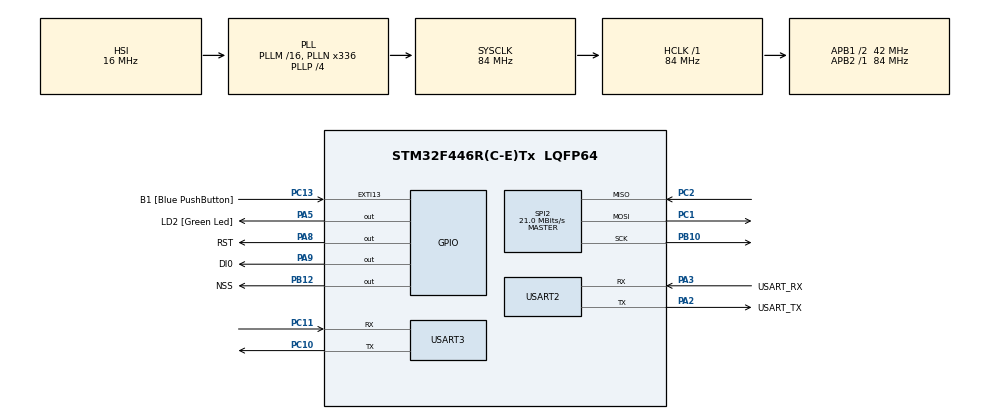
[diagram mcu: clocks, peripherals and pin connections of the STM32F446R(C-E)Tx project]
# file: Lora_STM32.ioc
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Mcu.Family=STM32F4
Mcu.Name=STM32F446R(C-E)Tx
Mcu.Package=LQFP64
NVIC.PriorityGroup=NVIC_PRIORITYGROUP_0
PA13.GPIO_Label=TMS
PA13.Mode=Serial_Wire
PA13.Signal=SYS_JTMS-SWDIO
PA14.GPIO_Label=TCK
PA14.Mode=Serial_Wire
PA14.Signal=SYS_JTCK-SWCLK
PA2.GPIO_Label=USART_TX
PA2.Mode=Asynchronous
PA2.Signal=USART2_TX
PA3.GPIO_Label=USART_RX
PA3.Mode=Asynchronous
PA3.Signal=USART2_RX
PA5.GPIO_Label=LD2 [Green Led]
PA5.Signal=GPIO_Output
PA8.GPIO_Label=RST
PA8.Signal=GPIO_Output
PA9.GPIO_Label=DI0
PA9.Signal=GPIO_Output
PB10.Mode=Full_Duplex_Master
PB10.Signal=SPI2_SCK
PB12.GPIO_Label=NSS
PB12.Signal=GPIO_Output
PB3.GPIO_Label=SWO
PB3.Signal=SYS_JTDO-SWO
PC1.Mode=Full_Duplex_Master
PC1.Signal=SPI2_MOSI
PC10.Mode=Asynchronous
PC10.Signal=USART3_TX
PC11.Mode=Asynchronous
PC11.Signal=USART3_RX
PC13.GPIO_Label=B1 [Blue PushButton]
PC13.GPIO_ModeDefaultEXTI=GPIO_MODE_IT_FALLING
PC13.Signal=GPXTI13
PC14-OSC32_IN.Mode=LSE-External-Oscillator
PC14-OSC32_IN.Signal=RCC_OSC32_IN
PC15-OSC32_OUT.Mode=LSE-External-Oscillator
PC15-OSC32_OUT.Signal=RCC_OSC32_OUT
PC2.Mode=Full_Duplex_Master
PC2.Signal=SPI2_MISO
PH0-OSC_IN.Mode=HSE-External-Oscillator
PH0-OSC_IN.Signal=RCC_OSC_IN
PH1-OSC_OUT.Mode=HSE-External-Oscillator
PH1-OSC_OUT.Signal=RCC_OSC_OUT
ProjectManager.HeapSize=0x200
ProjectManager.StackSize=0x400
ProjectManager.TargetToolchain=CMake
RCC.48MHZClocksFreq_Value=84000000
RCC.AHBFreq_Value=84000000
RCC.APB1CLKDivider=RCC_HCLK_DIV2
RCC.APB1Freq_Value=42000000
RCC.APB1TimFreq_Value=84000000
RCC.APB2Freq_Value=84000000
RCC.APB2TimFreq_Value=84000000
RCC.CortexFreq_Value=84000000
RCC.FLatency-AdvancedSettings=FLASH_LATENCY_2
RCC.HCLKFreq_Value=84000000
RCC.HSE_VALUE=8000000
RCC.HSI_VALUE=16000000
RCC.PLLN=336
RCC.PLLP=RCC_PLLP_DIV4
RCC.SYSCLKFreq_VALUE=84000000
RCC.SYSCLKSource=RCC_SYSCLKSOURCE_PLLCLK
RCC.USBFreq_Value=168000000
RCC.VCOOutputFreq_Value=336000000
SPI2.CalculateBaudRate=21.0 MBits/s
SPI2.Direction=SPI_DIRECTION_2LINES
SPI2.Mode=SPI_MODE_MASTER
SPI2.VirtualType=VM_MASTER
USART2.VirtualMode=VM_ASYNC
USART3.VirtualMode=VM_ASYNC
board=NUCLEO-F446RE

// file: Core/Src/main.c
/* USER CODE BEGIN Header */
/**
  ******************************************************************************
  * @file           : main.c
  * @brief          : Main program body
  ******************************************************************************
  * @attention
  *
  * Copyright (c) 2026 STMicroelectronics.
  * All rights reserved.
  *
  * This software is licensed under terms that can be found in the LICENSE file
  * in the root directory of this software component.
  * If no LICENSE file comes with this software, it is provided AS-IS.
  *
  ******************************************************************************
  */
/* USER CODE END Header */
#include "main.h"

/* USER CODE BEGIN Includes */
#include "sx127x.h"
#include "lora_protocol.h"
#include <stdio.h>
#include <string.h>
/* USER CODE END Includes */

SPI_HandleTypeDef hspi2;

UART_HandleTypeDef huart2;
UART_HandleTypeDef huart3;

/* USER CODE BEGIN PV */
SX127x_t lora;
LoRa_Protocol_t protocol;
char uart_buf[256];
char uart_rx_buffer[256];
volatile uint16_t uart_rx_index = 0;
volatile uint32_t uart_last_rx_tick = 0;  // timestamp ultimo byte ricevuto
/* USER CODE END PV */

void SystemClock_Config(void);
static void MX_GPIO_Init(void);
static void MX_SPI2_Init(void);
static void MX_USART2_UART_Init(void);
static void MX_USART3_UART_Init(void);

/* USER CODE BEGIN 0 */

// Helper function to send debug messages via UART
void UART_Print(const char *msg) {
    HAL_UART_Transmit(&huart2, (uint8_t*)msg, strlen(msg), HAL_MAX_DELAY);
}

// Callback when data is received from LoRa
void OnDataReceived(char *msg, uint8_t len) {
    UART_Print("Utente 2: ");
    UART_Print(msg);
    UART_Print("\r\n");
}

// Callback when ACK is received (optional, silent)
void OnAckReceived(uint8_t seq) {
    // ACKs are received silently, no print
}

/* USER CODE END 0 */

int main(void)
{

  /* MCU Configuration--------------------------------------------------------*/

  /* Reset of all peripherals, Initializes the Flash interface and the Systick. */
  HAL_Init();

  /* Configure the system clock */
  SystemClock_Config();

  /* Initialize all configured peripherals */
  MX_GPIO_Init();
  MX_SPI2_Init();
  MX_USART2_UART_Init();
  MX_USART3_UART_Init();
  /* USER CODE BEGIN 2 */

  // Longer delay for system and LoRa module to stabilize
  HAL_Delay(500);

  // Simple test message
  const char *test_msg = "\r\n\r\n*** STM32 LoRa Chat System ***\r\n";
  HAL_UART_Transmit(&huart2, (uint8_t*)test_msg, strlen(test_msg), 1000);

  // Initialize LoRa structure
  lora.hspi = &hspi2;
  lora.nss_port = NSS_GPIO_Port;
  lora.nss_pin = NSS_Pin;
  lora.rst_port = RST_GPIO_Port;
  lora.rst_pin = RST_Pin;
  lora.dio0_port = DI0_GPIO_Port;
  lora.dio0_pin = DI0_Pin;

  // Proper reset sequence with longer delays
  HAL_GPIO_WritePin(lora.rst_port, lora.rst_pin, GPIO_PIN_RESET);
  HAL_Delay(50);
  HAL_GPIO_WritePin(lora.rst_port, lora.rst_pin, GPIO_PIN_SET);
  HAL_Delay(200);

  // Check version
  uint8_t version = SX127x_ReadRegister(&lora, REG_VERSION);
  if (version != 0x12) {
      UART_Print("ERRORE: modulo LoRa non risponde. Verifica connessioni.\r\n");
      Error_Handler();
  }

  // Initialize LoRa at 433 MHz
  if (!SX127x_Begin(&lora, 433E6)) {
      UART_Print("ERRORE: inizializzazione LoRa fallita.\r\n");
      Error_Handler();
  }

  // Set sync word to match Arduino (0xF3)
  SX127x_SetSyncWord(&lora, 0xF3);

  // Initialize protocol
  LoRa_Protocol_Init(&protocol, &lora);
  protocol.data_received_callback = OnDataReceived;
  protocol.ack_received_callback = OnAckReceived;

  UART_Print("\r\n=== SISTEMA PRONTO ===\r\n");
  UART_Print("Digita un messaggio e premi INVIO.\r\n\r\n");

  // Start receiving
  SX127x_Receive(&lora);

  /* USER CODE END 2 */

  /* Infinite loop */
  while (1)
  {

    /* USER CODE BEGIN 3 */

    // 1. ASCOLTO DALLA RADIO (framed packets)
    LoRa_Protocol_ProcessIncoming(&protocol);

    // 2. INVIO DA SERIALE / BLE (framed packets)
    // Il BLE (AT-09) ha MTU=20 byte: spezza i messaggi in chunk da 20B.
    // uart_rx_buffer e uart_last_rx_tick sono PERSISTENTI tra i giri del loop,
    // così l'accumulo sopravvive finché il messaggio è completo.
    {
        uint8_t inChar;
        // Leggi tutti i byte disponibili ora (non bloccante: timeout 1ms)
        while (HAL_UART_Receive(&huart2, &inChar, 1, 1) == HAL_OK) {
            uart_last_rx_tick = HAL_GetTick();
            if (inChar == '\n' || inChar == '\r') {
                if (uart_rx_index > 0) {
                    uart_rx_buffer[uart_rx_index] = '\0';
                    bool sent = LoRa_Protocol_SendData(&protocol, ADDR_ARDUINO, uart_rx_buffer);
                    if (sent) {
                        UART_Print("Utente 1: ");
                        UART_Print(uart_rx_buffer);
                        UART_Print("\r\n\r\n");
                    } else {
                        UART_Print("[ERRORE] Invio fallito\r\n\r\n");
                    }
                    uart_rx_index = 0;
                    uart_last_rx_tick = 0;
                    SX127x_Receive(&lora);
                }
            } else if (inChar >= 32 && inChar < 127) {
                if (uart_rx_index < sizeof(uart_rx_buffer) - 1) {
                    uart_rx_buffer[uart_rx_index++] = inChar;
                }
            }
        }
        // Timeout 200ms: nessun byte nuovo ma buffer non vuoto
        // → messaggio completo (BLE non manda '\n', aspetta silenzio)
        if (uart_rx_index > 0 &&
            uart_last_rx_tick > 0 &&
            (HAL_GetTick() - uart_last_rx_tick) > 200) {
            uart_rx_buffer[uart_rx_index] = '\0';
            bool sent = LoRa_Protocol_SendData(&protocol, ADDR_ARDUINO, uart_rx_buffer);
            if (sent) {
                UART_Print("Utente 1: ");
                UART_Print(uart_rx_buffer);
                UART_Print("\r\n\r\n");
            } else {
                UART_Print("[ERRORE] Invio fallito\r\n\r\n");
            }
            uart_rx_index = 0;
            uart_last_rx_tick = 0;
            SX127x_Receive(&lora);
        }
    }
  }
  /* USER CODE END 3 */
}

void SystemClock_Config(void)
{
  RCC_OscInitTypeDef RCC_OscInitStruct = {0};
  RCC_ClkInitTypeDef RCC_ClkInitStruct = {0};

  /** Configure the main internal regulator output voltage
  */
  __HAL_RCC_PWR_CLK_ENABLE();
  __HAL_PWR_VOLTAGESCALING_CONFIG(PWR_REGULATOR_VOLTAGE_SCALE3);

  /** Initializes the RCC Oscillators according to the specified parameters
  * in the RCC_OscInitTypeDef structure.
  */
  RCC_OscInitStruct.OscillatorType = RCC_OSCILLATORTYPE_HSI;
  RCC_OscInitStruct.HSIState = RCC_HSI_ON;
  RCC_OscInitStruct.HSICalibrationValue = RCC_HSICALIBRATION_DEFAULT;
  RCC_OscInitStruct.PLL.PLLState = RCC_PLL_ON;
  RCC_OscInitStruct.PLL.PLLSource = RCC_PLLSOURCE_HSI;
  RCC_OscInitStruct.PLL.PLLM = 16;
  RCC_OscInitStruct.PLL.PLLN = 336;
  RCC_OscInitStruct.PLL.PLLP = RCC_PLLP_DIV4;
  RCC_OscInitStruct.PLL.PLLQ = 2;
  RCC_OscInitStruct.PLL.PLLR = 2;
  if (HAL_RCC_OscConfig(&RCC_OscInitStruct) != HAL_OK)
  {
    Error_Handler();
  }

  /** Initializes the CPU, AHB and APB buses clocks
  */
  RCC_ClkInitStruct.ClockType = RCC_CLOCKTYPE_HCLK|RCC_CLOCKTYPE_SYSCLK
                              |RCC_CLOCKTYPE_PCLK1|RCC_CLOCKTYPE_PCLK2;
  RCC_ClkInitStruct.SYSCLKSource = RCC_SYSCLKSOURCE_PLLCLK;
  RCC_ClkInitStruct.AHBCLKDivider = RCC_SYSCLK_DIV1;
  RCC_ClkInitStruct.APB1CLKDivider = RCC_HCLK_DIV2;
  RCC_ClkInitStruct.APB2CLKDivider = RCC_HCLK_DIV1;

  if (HAL_RCC_ClockConfig(&RCC_ClkInitStruct, FLASH_LATENCY_2) != HAL_OK)
  {
    Error_Handler();
  }
}

static void MX_SPI2_Init(void)
{

  /* SPI2 parameter configuration*/
  hspi2.Instance = SPI2;
  hspi2.Init.Mode = SPI_MODE_MASTER;
  hspi2.Init.Direction = SPI_DIRECTION_2LINES;
  hspi2.Init.DataSize = SPI_DATASIZE_8BIT;
  hspi2.Init.CLKPolarity = SPI_POLARITY_LOW;
  hspi2.Init.CLKPhase = SPI_PHASE_1EDGE;
  hspi2.Init.NSS = SPI_NSS_SOFT;
  hspi2.Init.BaudRatePrescaler = SPI_BAUDRATEPRESCALER_16; // APB1=42MHz → ~2.6MHz, entro i 10MHz del SX127x
  hspi2.Init.FirstBit = SPI_FIRSTBIT_MSB;
  hspi2.Init.TIMode = SPI_TIMODE_DISABLE;
  hspi2.Init.CRCCalculation = SPI_CRCCALCULATION_DISABLE;
  hspi2.Init.CRCPolynomial = 10;
  if (HAL_SPI_Init(&hspi2) != HAL_OK)
  {
    Error_Handler();
  }

}

static void MX_USART2_UART_Init(void)
{

  huart2.Instance = USART2;
  huart2.Init.BaudRate = 9600;
  huart2.Init.WordLength = UART_WORDLENGTH_8B;
  huart2.Init.StopBits = UART_STOPBITS_1;
  huart2.Init.Parity = UART_PARITY_NONE;
  huart2.Init.Mode = UART_MODE_TX_RX;
  huart2.Init.HwFlowCtl = UART_HWCONTROL_NONE;
  huart2.Init.OverSampling = UART_OVERSAMPLING_16;
  if (HAL_UART_Init(&huart2) != HAL_OK)
  {
    Error_Handler();
  }

}

static void MX_USART3_UART_Init(void)
{

  huart3.Instance = USART3;
  huart3.Init.BaudRate = 9600;
  huart3.Init.WordLength = UART_WORDLENGTH_8B;
  huart3.Init.StopBits = UART_STOPBITS_1;
  huart3.Init.Parity = UART_PARITY_NONE;
  huart3.Init.Mode = UART_MODE_TX_RX;
  huart3.Init.HwFlowCtl = UART_HWCONTROL_NONE;
  huart3.Init.OverSampling = UART_OVERSAMPLING_16;
  if (HAL_UART_Init(&huart3) != HAL_OK)
  {
    Error_Handler();
  }

}

static void MX_GPIO_Init(void)
{
  GPIO_InitTypeDef GPIO_InitStruct = {0};

  /* GPIO Ports Clock Enable */
  __HAL_RCC_GPIOC_CLK_ENABLE();
  __HAL_RCC_GPIOH_CLK_ENABLE();
  __HAL_RCC_GPIOA_CLK_ENABLE();
  __HAL_RCC_GPIOB_CLK_ENABLE();

  /*Configure GPIO pin Output Level */
  /* LD2 e DI0 partono LOW; RST parte HIGH (non tenere il modulo in reset) */
  HAL_GPIO_WritePin(GPIOA, LD2_Pin|DI0_Pin, GPIO_PIN_RESET);
  HAL_GPIO_WritePin(RST_GPIO_Port, RST_Pin, GPIO_PIN_SET);

  /*Configure GPIO pin Output Level */
  /* NSS parte HIGH (chip deselezionato) per non corrompere SPI all'avvio */
  HAL_GPIO_WritePin(NSS_GPIO_Port, NSS_Pin, GPIO_PIN_SET);

  /*Configure GPIO pin : B1_Pin */
  GPIO_InitStruct.Pin = B1_Pin;
  GPIO_InitStruct.Mode = GPIO_MODE_IT_FALLING;
  GPIO_InitStruct.Pull = GPIO_NOPULL;
  HAL_GPIO_Init(B1_GPIO_Port, &GPIO_InitStruct);

  /*Configure GPIO pins : LD2_Pin RST_Pin DI0_Pin */
  GPIO_InitStruct.Pin = LD2_Pin|RST_Pin|DI0_Pin;
  GPIO_InitStruct.Mode = GPIO_MODE_OUTPUT_PP;
  GPIO_InitStruct.Pull = GPIO_NOPULL;
  GPIO_InitStruct.Speed = GPIO_SPEED_FREQ_LOW;
  HAL_GPIO_Init(GPIOA, &GPIO_InitStruct);

  /*Configure GPIO pin : NSS_Pin */
  GPIO_InitStruct.Pin = NSS_Pin;
  GPIO_InitStruct.Mode = GPIO_MODE_OUTPUT_PP;
  GPIO_InitStruct.Pull = GPIO_NOPULL;
  GPIO_InitStruct.Speed = GPIO_SPEED_FREQ_LOW;
  HAL_GPIO_Init(NSS_GPIO_Port, &GPIO_InitStruct);

}

void Error_Handler(void)
{
  __disable_irq();
  while (1)
  {
  }
}
